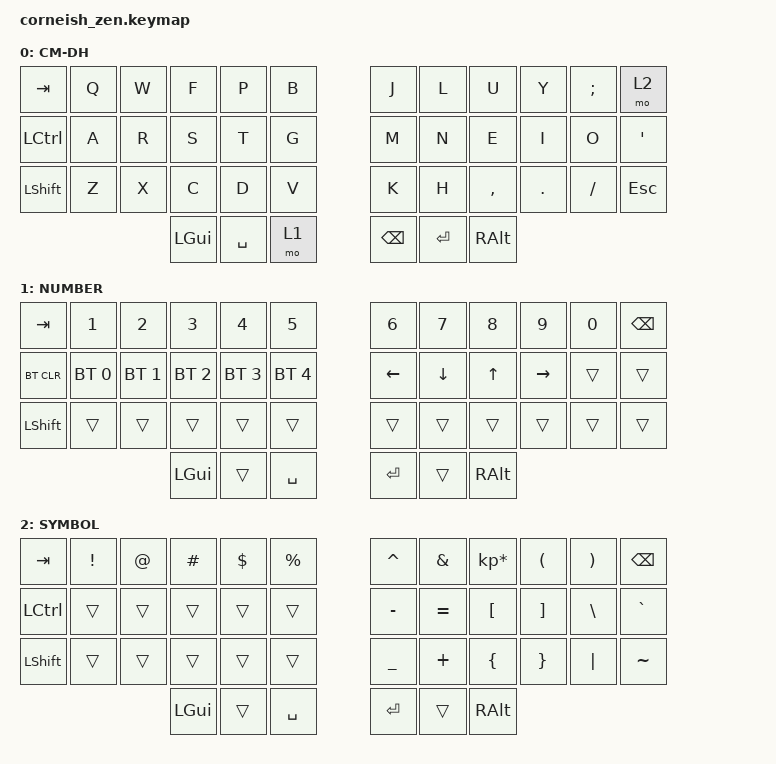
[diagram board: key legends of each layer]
#include <behaviors.dtsi>
#include <dt-bindings/zmk/keys.h>
#include <dt-bindings/zmk/bt.h>

/ {
  chosen {
    zmk,matrix_transform = &default_transform;
    //zmk,matrix_transform = &five_column_transform;
  };
};

/ {
        keymap {
                compatible = "zmk,keymap";

                default_layer {
                        label = "CM-DH";
// -----------------------------------------------------------------------------------------
// |  TAB |  Q  |  W  |  E  |  R  |  T  |   |  Y  |  U   |  I  |  O  |  P  | BKSP |
// | CTRL |  A  |  S  |  D  |  F  |  G  |   |  H  |  J   |  K  |  L  |  ;  |  '   |
// | SHFT |  Z  |  X  |  C  |  V  |  B  |   |  N  |  M   |  ,  |  .  |  /  | ESC  |
//                    | GUI | LWR | SPC |   | ENT | RSE  | ALT |
                        bindings = <
   &kp TAB   &kp Q &kp W &kp F &kp P &kp B   &kp J &kp L  &kp U     &kp Y   &kp SEMI    &mo 2
   &kp LCTRL &kp A &kp R &kp S &kp T &kp G   &kp M &kp N  &kp E     &kp I   &kp O       &kp SQT
   &kp LSHFT &kp Z &kp X &kp C &kp D &kp V   &kp K &kp H  &kp COMMA &kp DOT &kp FSLH    &kp ESC
                  &kp LGUI &kp SPACE &mo 1   &kp BSPC &kp RET &kp RALT
                        >;
                };
                lower_layer {
                        label = "NUMBER";
// -----------------------------------------------------------------------------------------
// |  TAB |  1  |  2  |  3  |  4  |  5  |   |  6  |  7  |  8  |  9  |  0  | BKSP |
// | BTCLR| BT1 | BT2 | BT3 | BT4 | BT5 |   | LFT | DWN |  UP | RGT |     |      |
// | SHFT |     |     |     |     |     |   |     |     |     |     |     |      |
//                    | GUI |     | SPC |   | ENT |     | ALT |
                        bindings = <
   &kp TAB    &kp N1       &kp N2       &kp N3       &kp N4       &kp N5         &kp N6   &kp N7   &kp N8 &kp N9    &kp N0 &kp BSPC
   &bt BT_CLR &bt BT_SEL 0 &bt BT_SEL 1 &bt BT_SEL 2 &bt BT_SEL 3 &bt BT_SEL 4   &kp LEFT &kp DOWN &kp UP &kp RIGHT &trans &trans
   &kp LSHFT  &trans       &trans       &trans       &trans       &trans         &trans   &trans   &trans &trans    &trans &trans
                          	        &kp LGUI     &trans       &kp SPACE      &kp RET  &trans   &kp RALT
                        >;
                };

                raise_layer {
                        label = "SYMBOL";
// -----------------------------------------------------------------------------------------
// |  TAB |  !  |  @  |  #  |  $  |  %  |   |  ^  |  &  |  *  |  (  |  )  | BKSP |
// | CTRL |     |     |     |     |     |   |  -  |  =  |  [  |  ]  |  \  |  `   |
// | SHFT |     |     |     |     |     |   |  _  |  +  |  {  |  }  | "|" |  ~   |
//                    | GUI |     | SPC |   | ENT |     | ALT |
                        bindings = <
   &kp  TAB  &kp EXCL &kp AT &kp HASH &kp DLLR &kp PRCNT   &kp CARET &kp AMPS  &kp KP_MULTIPLY &kp LPAR &kp RPAR &kp BSPC
   &kp LCTRL &trans   &trans &trans   &trans   &trans      &kp MINUS &kp EQUAL &kp LBKT        &kp RBKT &kp BSLH &kp GRAVE
   &kp LSHFT &trans   &trans &trans   &trans   &trans      &kp UNDER &kp PLUS  &kp LBRC        &kp RBRC &kp PIPE &kp TILDE
                    	     &kp LGUI &trans   &kp SPACE   &kp RET   &trans    &kp RALT
                        >;
                };
        };
};
